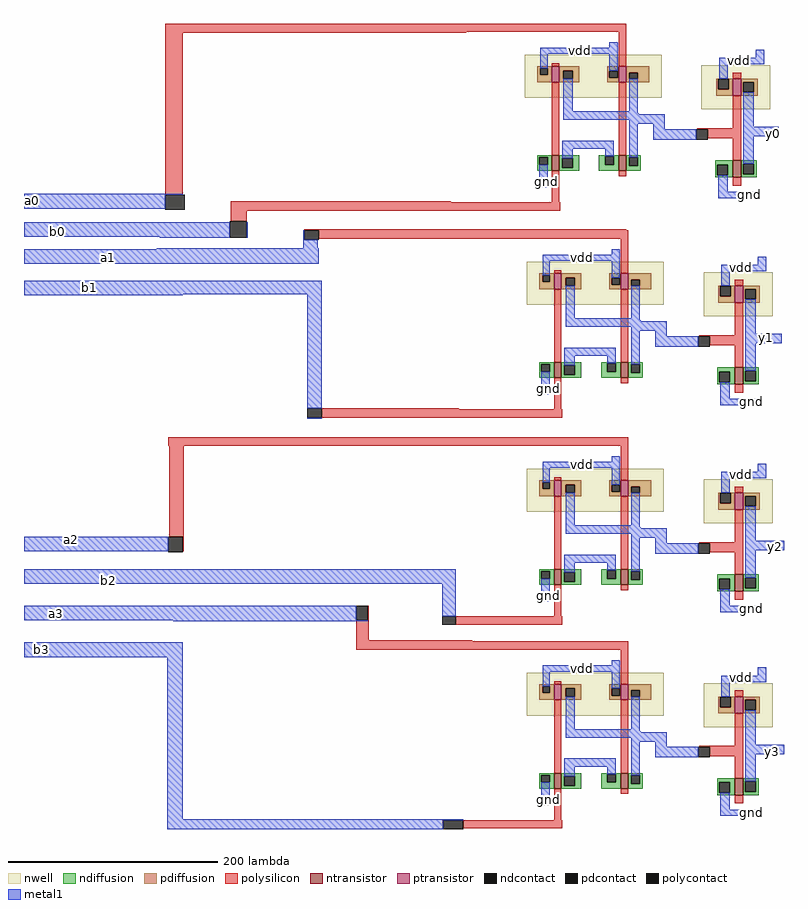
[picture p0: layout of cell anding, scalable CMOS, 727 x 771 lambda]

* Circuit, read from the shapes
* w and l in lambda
.subckt anding a0 a1 a2 a3 b0 b1 b2 b3 gnd vdd y0 y1 y2 y3
M1 n1 b0 gnd VSUBS nfet w=15 l=7
M2 n2 b3 gnd VSUBS nfet w=15 l=7
M3 n3 b2 gnd VSUBS nfet w=15 l=7
M4 n4 b1 gnd VSUBS nfet w=15 l=7
M5 n5 a0 n1 VSUBS nfet w=15 l=7
M6 n6 a3 n2 VSUBS nfet w=15 l=7
M7 n7 a2 n3 VSUBS nfet w=15 l=7
M8 n8 a1 n4 VSUBS nfet w=15 l=7
M9 y0 n5 gnd VSUBS nfet w=16 l=8
M10 y3 n6 gnd VSUBS nfet w=16 l=8
M11 y2 n7 gnd VSUBS nfet w=16 l=8
M12 y1 n8 gnd VSUBS nfet w=16 l=8
M13 n5 b0 vdd n9 pfet w=15 l=7
M14 n6 b3 vdd n10 pfet w=15 l=7
M15 n7 b2 vdd n11 pfet w=15 l=7
M16 n8 b1 vdd n12 pfet w=15 l=7
M17 n5 a0 vdd n9 pfet w=15 l=7
M18 n6 a3 vdd n10 pfet w=15 l=7
M19 n7 a2 vdd n11 pfet w=15 l=7
M20 n8 a1 vdd n12 pfet w=15 l=7
M21 y0 n5 vdd n13 pfet w=16 l=8
M22 y3 n6 vdd n14 pfet w=16 l=8
M23 y2 n7 vdd n15 pfet w=16 l=8
M24 y1 n8 vdd n16 pfet w=16 l=8
.ends

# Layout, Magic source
magic
tech scmos
<< nwell >>
rect 0 96 131 137
rect 169 85 235 127
rect 2 -102 133 -61
rect 171 -113 237 -71
rect 2 -300 133 -259
rect 171 -311 237 -269
rect 2 -495 133 -454
rect 171 -506 237 -464
<< ntransistor >>
rect 26 26 33 41
rect 90 26 97 41
rect 199 20 207 36
rect 28 -172 35 -157
rect 92 -172 99 -157
rect 201 -178 209 -162
rect 28 -370 35 -355
rect 92 -370 99 -355
rect 201 -376 209 -360
rect 28 -565 35 -550
rect 92 -565 99 -550
rect 201 -571 209 -555
<< ptransistor >>
rect 26 111 33 126
rect 90 111 97 126
rect 199 98 207 114
rect 28 -87 35 -72
rect 92 -87 99 -72
rect 201 -100 209 -84
rect 28 -285 35 -270
rect 92 -285 99 -270
rect 201 -298 209 -282
rect 28 -480 35 -465
rect 92 -480 99 -465
rect 201 -493 209 -477
<< ndiffusion >>
rect 12 39 26 41
rect 12 32 14 39
rect 22 32 26 39
rect 12 26 26 32
rect 33 38 52 41
rect 33 29 36 38
rect 46 29 52 38
rect 33 26 52 29
rect 71 40 90 41
rect 71 32 77 40
rect 85 32 90 40
rect 71 26 90 32
rect 97 39 111 41
rect 97 31 100 39
rect 108 31 111 39
rect 97 26 111 31
rect 182 32 199 36
rect 182 22 184 32
rect 194 22 199 32
rect 182 20 199 22
rect 207 33 222 36
rect 207 23 209 33
rect 219 23 222 33
rect 207 20 222 23
rect 14 -159 28 -157
rect 14 -166 16 -159
rect 24 -166 28 -159
rect 14 -172 28 -166
rect 35 -160 54 -157
rect 35 -169 38 -160
rect 48 -169 54 -160
rect 35 -172 54 -169
rect 73 -158 92 -157
rect 73 -166 79 -158
rect 87 -166 92 -158
rect 73 -172 92 -166
rect 99 -159 113 -157
rect 99 -167 102 -159
rect 110 -167 113 -159
rect 99 -172 113 -167
rect 184 -166 201 -162
rect 184 -176 186 -166
rect 196 -176 201 -166
rect 184 -178 201 -176
rect 209 -165 224 -162
rect 209 -175 211 -165
rect 221 -175 224 -165
rect 209 -178 224 -175
rect 14 -357 28 -355
rect 14 -364 16 -357
rect 24 -364 28 -357
rect 14 -370 28 -364
rect 35 -358 54 -355
rect 35 -367 38 -358
rect 48 -367 54 -358
rect 35 -370 54 -367
rect 73 -356 92 -355
rect 73 -364 79 -356
rect 87 -364 92 -356
rect 73 -370 92 -364
rect 99 -357 113 -355
rect 99 -365 102 -357
rect 110 -365 113 -357
rect 99 -370 113 -365
rect 184 -364 201 -360
rect 184 -374 186 -364
rect 196 -374 201 -364
rect 184 -376 201 -374
rect 209 -363 224 -360
rect 209 -373 211 -363
rect 221 -373 224 -363
rect 209 -376 224 -373
rect 14 -552 28 -550
rect 14 -559 16 -552
rect 24 -559 28 -552
rect 14 -565 28 -559
rect 35 -553 54 -550
rect 35 -562 38 -553
rect 48 -562 54 -553
rect 35 -565 54 -562
rect 73 -551 92 -550
rect 73 -559 79 -551
rect 87 -559 92 -551
rect 73 -565 92 -559
rect 99 -552 113 -550
rect 99 -560 102 -552
rect 110 -560 113 -552
rect 99 -565 113 -560
rect 184 -559 201 -555
rect 184 -569 186 -559
rect 196 -569 201 -559
rect 184 -571 201 -569
rect 209 -558 224 -555
rect 209 -568 211 -558
rect 221 -568 224 -558
rect 209 -571 224 -568
<< pdiffusion >>
rect 12 124 26 126
rect 12 118 15 124
rect 22 118 26 124
rect 12 111 26 118
rect 33 122 52 126
rect 33 114 37 122
rect 46 114 52 122
rect 33 111 52 114
rect 79 122 90 126
rect 79 115 81 122
rect 89 115 90 122
rect 79 111 90 115
rect 97 120 119 126
rect 97 114 100 120
rect 108 114 119 120
rect 97 111 119 114
rect 183 104 185 114
rect 195 104 199 114
rect 183 98 199 104
rect 207 111 223 114
rect 207 101 209 111
rect 219 101 223 111
rect 207 98 223 101
rect 14 -74 28 -72
rect 14 -80 17 -74
rect 24 -80 28 -74
rect 14 -87 28 -80
rect 35 -76 54 -72
rect 35 -84 39 -76
rect 48 -84 54 -76
rect 35 -87 54 -84
rect 81 -76 92 -72
rect 81 -83 83 -76
rect 91 -83 92 -76
rect 81 -87 92 -83
rect 99 -78 121 -72
rect 99 -84 102 -78
rect 110 -84 121 -78
rect 99 -87 121 -84
rect 185 -94 187 -84
rect 197 -94 201 -84
rect 185 -100 201 -94
rect 209 -87 225 -84
rect 209 -97 211 -87
rect 221 -97 225 -87
rect 209 -100 225 -97
rect 14 -272 28 -270
rect 14 -278 17 -272
rect 24 -278 28 -272
rect 14 -285 28 -278
rect 35 -274 54 -270
rect 35 -282 39 -274
rect 48 -282 54 -274
rect 35 -285 54 -282
rect 81 -274 92 -270
rect 81 -281 83 -274
rect 91 -281 92 -274
rect 81 -285 92 -281
rect 99 -276 121 -270
rect 99 -282 102 -276
rect 110 -282 121 -276
rect 99 -285 121 -282
rect 185 -292 187 -282
rect 197 -292 201 -282
rect 185 -298 201 -292
rect 209 -285 225 -282
rect 209 -295 211 -285
rect 221 -295 225 -285
rect 209 -298 225 -295
rect 14 -467 28 -465
rect 14 -473 17 -467
rect 24 -473 28 -467
rect 14 -480 28 -473
rect 35 -469 54 -465
rect 35 -477 39 -469
rect 48 -477 54 -469
rect 35 -480 54 -477
rect 81 -469 92 -465
rect 81 -476 83 -469
rect 91 -476 92 -469
rect 81 -480 92 -476
rect 99 -471 121 -465
rect 99 -477 102 -471
rect 110 -477 121 -471
rect 99 -480 121 -477
rect 185 -487 187 -477
rect 197 -487 201 -477
rect 185 -493 201 -487
rect 209 -480 225 -477
rect 209 -490 211 -480
rect 221 -490 225 -480
rect 209 -493 225 -490
<< ndcontact >>
rect 14 32 22 39
rect 36 29 46 38
rect 77 32 85 40
rect 100 31 108 39
rect 184 22 194 32
rect 209 23 219 33
rect 16 -166 24 -159
rect 38 -169 48 -160
rect 79 -166 87 -158
rect 102 -167 110 -159
rect 186 -176 196 -166
rect 211 -175 221 -165
rect 16 -364 24 -357
rect 38 -367 48 -358
rect 79 -364 87 -356
rect 102 -365 110 -357
rect 186 -374 196 -364
rect 211 -373 221 -363
rect 16 -559 24 -552
rect 38 -562 48 -553
rect 79 -559 87 -551
rect 102 -560 110 -552
rect 186 -569 196 -559
rect 211 -568 221 -558
<< pdcontact >>
rect 15 118 22 124
rect 37 114 46 122
rect 81 115 89 122
rect 100 114 108 120
rect 185 104 195 114
rect 209 101 219 111
rect 17 -80 24 -74
rect 39 -84 48 -76
rect 83 -83 91 -76
rect 102 -84 110 -78
rect 187 -94 197 -84
rect 211 -97 221 -87
rect 17 -278 24 -272
rect 39 -282 48 -274
rect 83 -281 91 -274
rect 102 -282 110 -276
rect 187 -292 197 -282
rect 211 -295 221 -285
rect 17 -473 24 -467
rect 39 -477 48 -469
rect 83 -476 91 -469
rect 102 -477 110 -471
rect 187 -487 197 -477
rect 211 -490 221 -480
<< polysilicon >>
rect -344 159 97 167
rect -344 158 -56 159
rect -344 3 -327 158
rect 26 126 33 129
rect 90 126 97 159
rect 199 114 207 120
rect 26 41 33 111
rect 90 41 97 111
rect 199 67 207 98
rect 165 66 207 67
rect 175 57 207 66
rect 199 36 207 57
rect -281 -4 -71 -3
rect 26 -4 33 26
rect 90 21 97 26
rect 199 12 207 20
rect -281 -12 34 -4
rect -281 -22 -266 -12
rect -211 -31 97 -30
rect -197 -39 99 -31
rect 28 -72 35 -69
rect 92 -72 99 -39
rect 201 -84 209 -78
rect 28 -157 35 -87
rect 92 -157 99 -87
rect 201 -131 209 -100
rect 167 -132 209 -131
rect 177 -141 209 -132
rect 201 -162 209 -141
rect -194 -202 -63 -201
rect 28 -202 35 -172
rect 92 -177 99 -172
rect 201 -186 209 -178
rect -194 -210 36 -202
rect -341 -237 99 -229
rect -340 -324 -326 -237
rect 28 -270 35 -267
rect 92 -270 99 -237
rect 201 -282 209 -276
rect -327 -338 -326 -324
rect 28 -355 35 -285
rect 92 -355 99 -285
rect 201 -329 209 -298
rect 167 -330 209 -329
rect 177 -339 209 -330
rect 201 -360 209 -339
rect -150 -404 -149 -390
rect 28 -400 35 -370
rect 92 -375 99 -370
rect 201 -384 209 -376
rect -161 -423 -149 -404
rect -66 -408 36 -400
rect -161 -424 -50 -423
rect -161 -432 99 -424
rect 28 -465 35 -462
rect 92 -465 99 -432
rect 201 -477 209 -471
rect 28 -550 35 -480
rect 92 -550 99 -480
rect 201 -524 209 -493
rect 167 -525 209 -524
rect 177 -534 209 -525
rect 201 -555 209 -534
rect 28 -595 35 -565
rect 92 -570 99 -565
rect 201 -579 209 -571
rect -79 -603 -78 -595
rect -59 -603 36 -595
<< polycontact >>
rect 164 56 175 66
rect -344 -11 -325 3
rect -282 -38 -266 -22
rect -211 -40 -197 -31
rect 166 -142 177 -132
rect -208 -210 -194 -201
rect -341 -339 -327 -324
rect 166 -340 177 -330
rect -161 -404 -150 -390
rect -79 -408 -66 -400
rect 166 -535 177 -525
rect -78 -604 -59 -595
<< metal1 >>
rect 81 144 89 149
rect 15 138 89 144
rect 15 124 22 138
rect 81 122 89 138
rect 221 134 229 142
rect 186 128 229 134
rect 37 83 46 114
rect 186 114 194 128
rect 100 83 108 114
rect 37 81 108 83
rect 37 80 109 81
rect 37 75 134 80
rect 100 71 134 75
rect 36 47 85 55
rect 14 10 22 32
rect 36 38 46 47
rect 77 40 85 47
rect 100 39 108 71
rect 123 66 134 71
rect 209 68 219 101
rect 123 56 164 66
rect 209 59 243 68
rect 209 33 219 59
rect 185 6 194 22
rect -479 3 -327 4
rect -479 -10 -344 3
rect 185 0 220 6
rect -479 -37 -282 -23
rect -349 -38 -282 -37
rect -266 -38 -265 -23
rect -212 -40 -211 -31
rect -212 -48 -198 -40
rect -352 -49 -197 -48
rect -479 -63 -197 -49
rect 83 -54 91 -49
rect 17 -60 91 -54
rect 17 -74 24 -60
rect -479 -92 -194 -79
rect 83 -76 91 -60
rect 223 -64 231 -56
rect -479 -93 -327 -92
rect -208 -201 -194 -92
rect 188 -70 231 -64
rect 39 -115 48 -84
rect 188 -84 196 -70
rect 102 -115 110 -84
rect 39 -117 110 -115
rect 39 -118 111 -117
rect 39 -123 136 -118
rect 102 -127 136 -123
rect 38 -151 87 -143
rect 16 -188 24 -166
rect 38 -160 48 -151
rect 79 -158 87 -151
rect 102 -159 110 -127
rect 125 -132 136 -127
rect 211 -130 221 -97
rect 125 -142 166 -132
rect 211 -139 246 -130
rect 211 -165 221 -139
rect 187 -192 196 -176
rect 187 -198 222 -192
rect -208 -211 -194 -210
rect 83 -252 91 -247
rect 17 -258 91 -252
rect 17 -272 24 -258
rect 83 -274 91 -258
rect 223 -262 231 -254
rect 188 -268 231 -262
rect 39 -313 48 -282
rect 188 -282 196 -268
rect 102 -313 110 -282
rect 39 -315 110 -313
rect 39 -316 111 -315
rect 39 -321 136 -316
rect -479 -338 -341 -324
rect 102 -325 136 -321
rect 38 -349 87 -341
rect -479 -369 -66 -355
rect -479 -404 -161 -390
rect -336 -405 -150 -404
rect -79 -400 -66 -369
rect 16 -386 24 -364
rect 38 -358 48 -349
rect 79 -356 87 -349
rect 102 -357 110 -325
rect 125 -330 136 -325
rect 211 -328 221 -295
rect 125 -340 166 -330
rect 211 -337 248 -328
rect 211 -363 221 -337
rect 187 -390 196 -374
rect 187 -396 222 -390
rect -479 -439 -327 -425
rect -342 -594 -327 -439
rect 83 -447 91 -442
rect 17 -453 91 -447
rect 17 -467 24 -453
rect 83 -469 91 -453
rect 223 -457 231 -449
rect 188 -463 231 -457
rect 39 -508 48 -477
rect 188 -477 196 -463
rect 102 -508 110 -477
rect 39 -510 110 -508
rect 39 -511 111 -510
rect 39 -516 136 -511
rect 102 -520 136 -516
rect 38 -544 87 -536
rect 16 -581 24 -559
rect 38 -553 48 -544
rect 79 -551 87 -544
rect 102 -552 110 -520
rect 125 -525 136 -520
rect 211 -523 221 -490
rect 125 -535 166 -525
rect 211 -532 248 -523
rect 211 -558 221 -532
rect 187 -585 196 -569
rect 187 -591 222 -585
rect -342 -595 -59 -594
rect -342 -604 -78 -595
<< labels >>
rlabel metal1 204 131 206 133 5 vdd
rlabel metal1 214 2 216 4 1 gnd
rlabel metal1 53 139 54 143 5 vdd
rlabel metal1 20 14 21 18 1 gnd
rlabel metal1 206 -67 208 -65 5 vdd
rlabel metal1 216 -196 218 -194 1 gnd
rlabel metal1 55 -59 56 -55 5 vdd
rlabel metal1 22 -184 23 -180 1 gnd
rlabel metal1 206 -265 208 -263 5 vdd
rlabel metal1 216 -394 218 -392 1 gnd
rlabel metal1 55 -257 56 -253 5 vdd
rlabel metal1 22 -382 23 -378 1 gnd
rlabel metal1 206 -460 208 -458 5 vdd
rlabel metal1 216 -589 218 -587 1 gnd
rlabel metal1 55 -452 56 -448 5 vdd
rlabel metal1 22 -577 23 -573 1 gnd
rlabel metal1 -472 -4 -469 0 1 a0
rlabel metal1 -448 -34 -445 -30 1 b0
rlabel metal1 -400 -59 -397 -55 1 a1
rlabel metal1 -418 -88 -415 -84 1 b1
rlabel metal1 -435 -329 -432 -325 1 a2
rlabel metal1 -400 -368 -397 -364 1 b2
rlabel metal1 -449 -399 -446 -395 1 a3
rlabel metal1 -464 -434 -461 -430 1 b3
rlabel metal1 237 61 239 62 1 y0
rlabel metal1 230 -134 232 -133 1 y1
rlabel metal1 239 -334 241 -333 1 y2
rlabel metal1 236 -530 238 -529 1 y3
<< end >>
